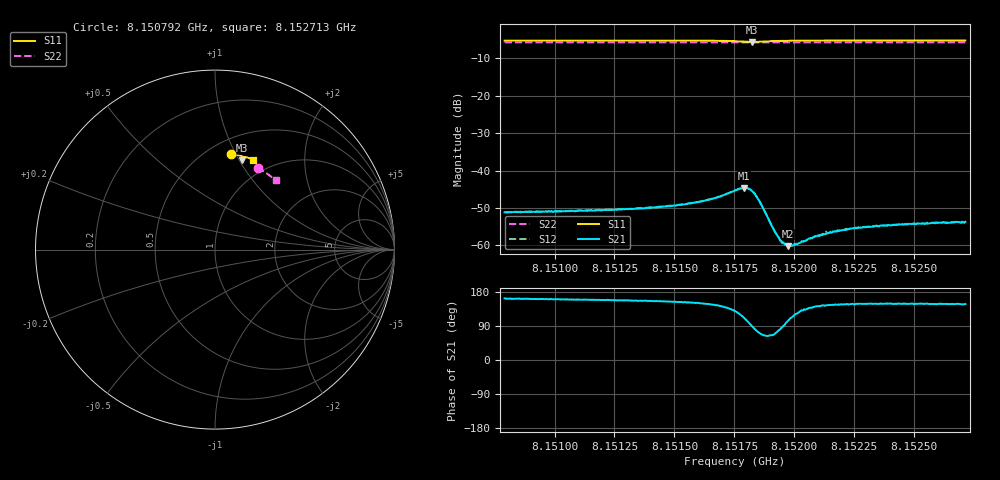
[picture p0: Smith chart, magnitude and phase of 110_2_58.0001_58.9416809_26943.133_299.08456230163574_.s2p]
#  HZ  S  RI  R  50.00
! Rohde & Schwarz Vector Network Analyzer
! Rohde-Schwarz,ZNB20-2Port,1311601062101988,3.16
! Created: UTC 3/21/2024, 12:55:10 AM
! freq[Hz]  re:S11  im:S11  re:S21  im:S21  re:S12  im:S12  re:S22  im:S22
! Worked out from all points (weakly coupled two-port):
!   401 points, 8.150792 GHz to 8.152713 GHz, reference 50 ohm
!   highest |S21| = -44.64 dB at 8.151791 GHz (marker M1); lowest = -60.2 dB at 8.151974 GHz (marker M2)
!   lowest |S11| = -5.7 dB at 8.151825 GHz (marker M3), VSWR 3.17, Z = 37.6 + j51.3 ohm
!   |S11| at or under -10 dB: nowhere
!   |S22| runs from -5.8 to -5.8 dB; largest |S21 - S12| = 0.00012
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8.1507919e9  0.0884 0.5351  -0.00264 0.000827  -0.00264 0.000915  0.2373 0.4566
8.1511137e9  0.1113 0.5314  -0.00272 0.00104  -0.00274 0.00108  0.2554 0.4464
8.1514355e9  0.1347 0.5258  -0.00298 0.00139  -0.00297 0.00148  0.273 0.4353
8.1516037e9  0.1484 0.5213  -0.00331 0.00191  -0.0033 0.00198  0.2822 0.4291
8.1516853e9  0.156 0.5165  -0.00357 0.00266  -0.00358 0.00273  0.2863 0.426
8.1517526e9  0.1612 0.508  -0.00343 0.00418  -0.00338 0.00428  0.2898 0.4232
8.151791e9  0.1588 0.4999  -0.0021 0.00548  -0.00203 0.00554  0.2916 0.4217
8.1518054e9  0.1556 0.4979  -0.0012 0.00566  -0.0011 0.00571  0.2922 0.4211
8.1518246e9  0.1501 0.4981  0.000132 0.00529  0.000216 0.00534  0.2928 0.4204
8.1518438e9  0.146 0.5016  0.00106 0.00429  0.00109 0.00429  0.2938 0.42
8.1518582e9  0.1452 0.505  0.00129 0.00347  0.00135 0.00347  0.2946 0.4195
8.1519063e9  0.1492 0.5134  0.00076 0.00167  0.000755 0.00166  0.297 0.4182
8.1519351e9  0.1531 0.5153  0.000247 0.00124  0.00028 0.00126  0.2987 0.4171
8.1519543e9  0.1555 0.516  -1.01e-05 0.0011  5.93e-06 0.00108  0.2998 0.4163
8.1519735e9  0.1576 0.5164  -0.000227 0.000956  -0.000262 0.000971  0.3007 0.4157
8.1520023e9  0.1607 0.5166  -0.000531 0.000901  -0.000507 0.000915  0.3023 0.4146
8.1520744e9  0.1677 0.516  -0.00094 0.000844  -0.000923 0.000838  0.3061 0.4117
8.1521224e9  0.1718 0.5151  -0.00117 0.000823  -0.00114 0.000861  0.3084 0.4097
8.1521897e9  0.1772 0.514  -0.00131 0.000881  -0.00133 0.000894  0.3119 0.4071
8.1522425e9  0.1811 0.5128  -0.00144 0.00089  -0.00142 0.000936  0.3147 0.4051
8.1523962e9  0.1922 0.5093  -0.0016 0.000958  -0.00158 0.00103  0.3221 0.3988
8.1527132e9  0.2137 0.5014  -0.00175 0.00111  -0.00171 0.00114  0.3375 0.3852
